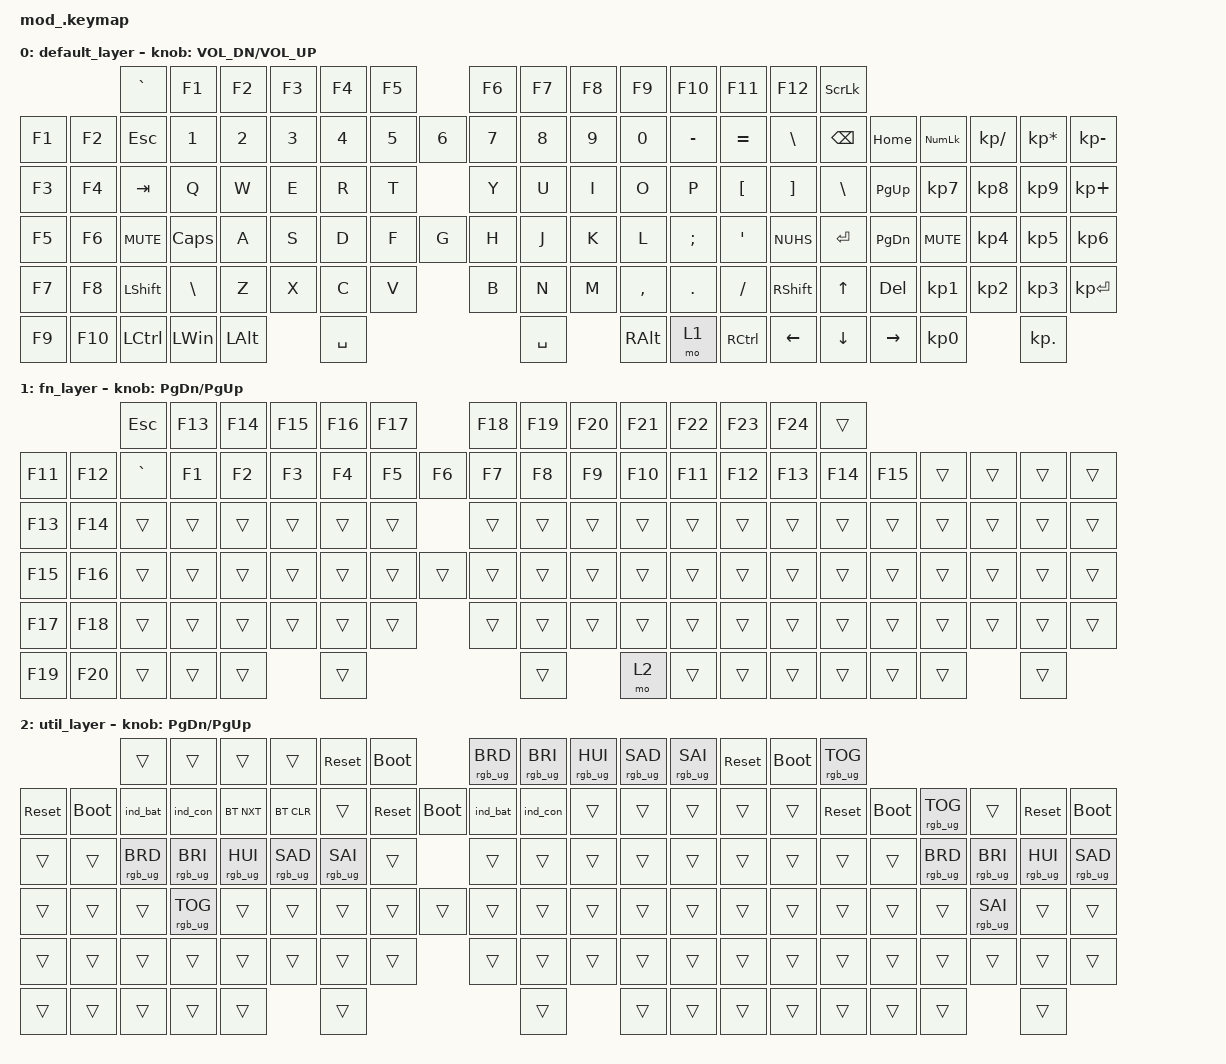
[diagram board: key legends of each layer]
/*
 * copyright (c) 2025 ZMK project contributors
 *
 * SPDX-license-identifier: MIT
 */

#include <behaviors.dtsi>
#include <behaviors/rgbled_widget.dtsi>
#include <dt-bindings/zmk/keys.h>
#include <dt-bindings/zmk/bt.h>
#include <dt-bindings/zmk/rgb.h>

/ {
    macros {
        /* work-around for CAPS LOCK LED indicator functionality */
        CLCK_LED: CLCK_LED {
            compatible = "zmk,behavior-macro";
            #binding-cells = <0>;
            bindings =
                <&kp CLCK>,
                <&rgb_ug RGB_TOG>;
        };

        /* work-around for NUM LOCK LED indicator functionality */
        NLCK_LED: NLCK_LED {
            compatible = "zmk,behavior-macro";
            #binding-cells = <0>;
            bindings =
                <&kp KP_NLCK>,
                <&rgb_ug RGB_TOG>;
        };

        /* work-around for SCROLL LOCK LED indicator functionality */
        SLCK_LED: SLCK_LED {
            compatible = "zmk,behavior-macro";
            #binding-cells = <0>;
            bindings =
                <&kp SLCK>,
                <&rgb_ug RGB_TOG>;
        };
    };

    keymap {
        compatible = "zmk,keymap";

        default_layer {
            bindings = <
                                              &kp GRAVE    &kp F1   &kp F2   &kp F3   &kp F4    &kp F5   &kp F6   &kp F7    &kp F8    &kp F9   &kp F10   &kp F11   &kp F12     &kp SLCK

                &kp F1  &kp F2                &kp ESC &kp N1  &kp N2  &kp N3  &kp N4  &kp N5  &kp N6  &kp N7  &kp N8  &kp N9  &kp N0  &kp MINUS  &kp EQUAL   &kp BSLH &kp BSPC &kp HOME                 &kp KP_NLCK &kp KP_SLASH &kp KP_ASTERISK &kp KP_MINUS
                &kp F3  &kp F4                &kp TAB     &kp Q   &kp W   &kp E   &kp R   &kp T  &kp Y   &kp U   &kp I   &kp O   &kp P   &kp LBKT    &kp RBKT        &kp BSLH &kp PG_UP                 &kp KP_N7   &kp KP_N8    &kp KP_N9       &kp KP_PLUS
                &kp F5  &kp F6     &kp C_MUTE &kp CLCK      &kp A   &kp S   &kp D   &kp F   &kp G   &kp H  &kp J   &kp K   &kp L   &kp SEMI   &kp APOS   &kp NUHS    &kp RET  &kp PG_DN &kp C_MUTE      &kp KP_N4   &kp KP_N5    &kp KP_N6
                &kp F7  &kp F8                &kp LSHFT &kp BSLH &kp Z  &kp X   &kp C   &kp V    &kp B   &kp N   &kp M   &kp COMMA &kp DOT &kp FSLH &kp RSHFT        &kp UP   &kp DEL                   &kp KP_N1   &kp KP_N2    &kp KP_N3       &kp KP_ENTER
                &kp F9  &kp F10               &kp LCTRL &kp LWIN  &kp LALT       &kp SPACE        &kp SPACE          &kp RALT       &mo 1       &kp RCTRL   &kp LEFT &kp DOWN &kp RIGHT                 &kp KP_N0                &kp KP_DOT
            >;

            sensor-bindings = <&inc_dec_kp C_VOL_DN C_VOL_UP>;
        };

        fn_layer {
            bindings = <
                                                     &kp ESC         &kp F13         &kp F14         &kp F15            &kp F16         &kp F17                        &kp F18         &kp F19         &kp F20         &kp F21         &kp F22         &kp F23    &kp F24     &trans

                &kp F11    &kp F12                   &kp GRAVE       &kp F1          &kp F2          &kp F3             &kp F4          &kp F5      &kp F6             &kp F7          &kp F8          &kp F9          &kp F10         &kp F11         &kp F12    &kp F13     &kp F14         &kp F15                   &trans          &trans          &trans          &trans 
                &kp F13    &kp F14                   &trans          &trans          &trans          &trans             &trans          &trans                         &trans          &trans          &trans          &trans          &trans          &trans     &trans      &trans          &trans                    &trans          &trans          &trans          &trans 
                &kp F15    &kp F16            &trans &trans          &trans          &trans          &trans             &trans          &trans                         &trans          &trans          &trans          &trans          &trans          &trans     &trans      &trans          &trans      &trans        &trans          &trans          &trans 
                &kp F17    &kp F18                   &trans          &trans          &trans          &trans             &trans          &trans                         &trans          &trans          &trans          &trans          &trans          &trans     &trans      &trans          &trans                    &trans          &trans          &trans          &trans 
                &kp F19    &kp F20                   &trans          &trans          &trans                             &trans                                                         &trans                          &mo 2           &trans          &trans     &trans      &trans          &trans                    &trans                          &trans 
            >;

            sensor-bindings = <&inc_dec_kp PG_DN PG_UP>;
        };

        util_layer {
            bindings = <
                                                     &trans          &trans          &trans          &trans             &sys_reset      &bootloader                    &rgb_ug RGB_BRD &rgb_ug RGB_BRI &rgb_ug RGB_HUI &rgb_ug RGB_SAD &rgb_ug RGB_SAI &sys_reset &bootloader &rgb_ug RGB_TOG

                &sys_reset &bootloader               &ind_bat        &ind_con        &bt BT_NXT      &bt BT_CLR         &trans          &sys_reset  &bootloader        &ind_bat        &ind_con        &trans          &trans          &trans          &trans     &trans      &sys_reset      &bootloader               &rgb_ug RGB_TOG &trans          &sys_reset      &bootloader
                &trans     &trans                    &rgb_ug RGB_BRD &rgb_ug RGB_BRI &rgb_ug RGB_HUI &rgb_ug RGB_SAD    &rgb_ug RGB_SAI &trans                         &trans          &trans          &trans          &trans          &trans          &trans     &trans      &trans          &trans                    &rgb_ug RGB_BRD &rgb_ug RGB_BRI &rgb_ug RGB_HUI &rgb_ug RGB_SAD  
                &trans     &trans             &trans &rgb_ug RGB_TOG &trans          &trans          &trans             &trans          &trans                         &trans          &trans          &trans          &trans          &trans          &trans     &trans      &trans          &trans      &trans        &rgb_ug RGB_SAI &trans          &trans 
                &trans     &trans                    &trans          &trans          &trans          &trans             &trans          &trans                         &trans          &trans          &trans          &trans          &trans          &trans     &trans      &trans          &trans                    &trans          &trans          &trans          &trans 
                &trans     &trans                    &trans          &trans          &trans                             &trans                                                         &trans                          &trans          &trans          &trans     &trans      &trans          &trans                    &trans                          &trans
            >;

            sensor-bindings = <&inc_dec_kp PG_DN PG_UP>;
        };
    };
};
